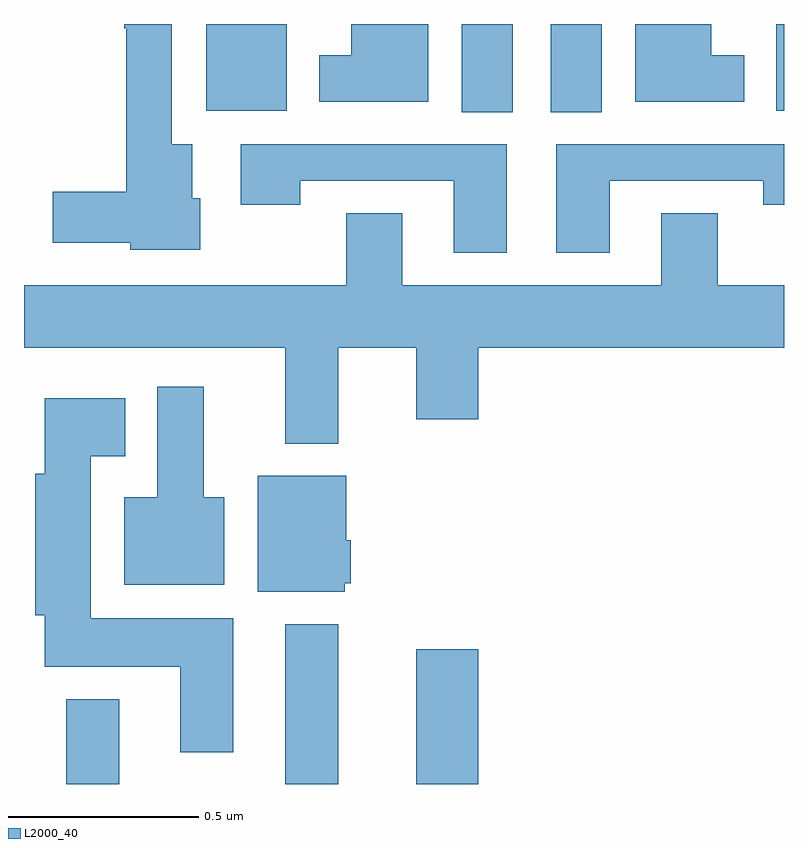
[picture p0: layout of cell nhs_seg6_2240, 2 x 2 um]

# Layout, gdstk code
import gdstk
lib = gdstk.Library(unit=1e-6, precision=1e-09)
def R(c, l, rs):  # rectangles x0, y0, x1, y1
    for r in rs: c.add(gdstk.rectangle(r[:2], r[2:], *l))
def P(c, l, *ps):  # polygons
    for p in ps: c.add(gdstk.Polygon(p, *l))
L2000_40 = (2000, 40)

nhs_seg6_2240 = lib.new_cell('nhs_seg6_2240')
R(nhs_seg6_2240, L2000_40, [(140.111,967.5,140.251,967.723), (140.687,967.5,140.827,967.921), (141.032,967.5,141.196,967.855), (141.152,969.268,141.286,969.5), (141.386,969.268,141.52,969.5), (140.48,969.272,140.692,969.5), (141.98,969.272,142,969.5)])
P(nhs_seg6_2240, L2000_40, [(140.464,969.042),(140.443,969.042),(140.443,969.184),(140.389,969.184),(140.389,969.5),(140.264,969.5),(140.264,969.489),(140.269,969.489),(140.269,969.059),(140.076,969.059),(140.076,968.924),(140.28,968.924),(140.28,968.906),(140.464,968.906)],
  [(141.064,969.5),(140.861,969.5),(140.861,969.418),(140.777,969.418),(140.777,969.296),(141.064,969.296)],
  [(141.895,969.418),(141.808,969.418),(141.808,969.5),(141.608,969.5),(141.608,969.296),(141.895,969.296)],
  [(141.541,969.087),(141.946,969.087),(141.946,969.024),(142,969.024),(142,969.183),(141.401,969.183),(141.401,968.898),(141.541,968.898)],
  [(141.271,969.183),(140.571,969.183),(140.571,969.024),(140.727,969.024),(140.727,969.087),(141.131,969.087),(141.131,968.898),(141.271,968.898)],
  [(142,968.812),(141.825,968.812),(141.825,969.002),(141.677,969.002),(141.677,968.812),(140.995,968.812),(140.995,969.002),(140.848,969.002),(140.848,968.812),(140,968.812),(140,968.648),(140.687,968.648),(140.687,968.396),(140.827,968.396),(140.827,968.648),(141.032,968.648),(141.032,968.46),(141.196,968.46),(141.196,968.648),(142,968.648)],
  [(140.527,968.254),(140.473,968.254),(140.473,968.545),(140.351,968.545),(140.351,968.254),(140.264,968.254),(140.264,968.024),(140.527,968.024)],
  [(140.551,967.936),(140.176,967.936),(140.176,968.363),(140.266,968.363),(140.266,968.515),(140.054,968.515),(140.054,968.316),(140.03,968.316),(140.03,967.944),(140.054,967.944),(140.054,967.808),(140.411,967.808),(140.411,967.584),(140.551,967.584)],
  [(140.844,968.028),(140.86,968.028),(140.86,968.142),(140.848,968.142),(140.848,968.311),(140.615,968.311),(140.615,968.006),(140.844,968.006)])

lib.write_gds('nhs_seg6_2240.gds')
